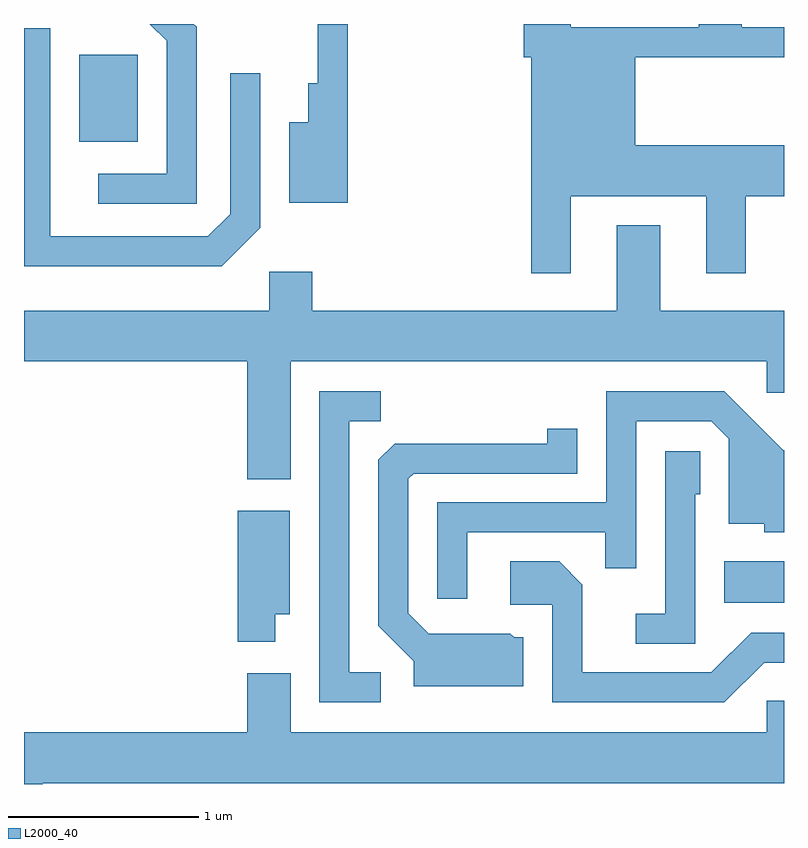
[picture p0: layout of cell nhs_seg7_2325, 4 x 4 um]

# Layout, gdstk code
import gdstk
lib = gdstk.Library(unit=1e-6, precision=1e-09)
def R(c, l, rs):  # rectangles x0, y0, x1, y1
    for r in rs: c.add(gdstk.rectangle(r[:2], r[2:], *l))
def P(c, l, *ps):  # polygons
    for p in ps: c.add(gdstk.Polygon(p, *l))
L2000_40 = (2000, 40)

nhs_seg7_2325 = lib.new_cell('nhs_seg7_2325')
R(nhs_seg7_2325, L2000_40, [(259.296,1775.206,259.611,1775.424), (255.901,1777.631,256.209,1778.089)])
P(nhs_seg7_2325, L2000_40, [(256.519,1778.237),(256.504,1778.252),(256.273,1778.252),(256.361,1778.164),(256.361,1777.464),(256.003,1777.464),(256.003,1777.306),(256.519,1777.306)],
  [(258.489,1777.346),(259.201,1777.346),(259.201,1776.941),(259.409,1776.941),(259.409,1777.346),(259.611,1777.346),(259.611,1777.614),(258.829,1777.614),(258.829,1778.076),(259.611,1778.076),(259.611,1778.234),(259.389,1778.234),(259.389,1778.252),(259.161,1778.252),(259.161,1778.234),(258.489,1778.234),(258.489,1778.252),(258.241,1778.252),(258.241,1778.076),(258.281,1778.076),(258.281,1776.941),(258.489,1776.941)],
  [(257.314,1778.252),(257.156,1778.252),(257.156,1777.939),(257.106,1777.939),(257.106,1777.734),(257.006,1777.734),(257.006,1777.311),(257.314,1777.311)],
  [(256.854,1777.179),(256.854,1777.993),(256.696,1777.993),(256.696,1777.252),(256.579,1777.134),(255.749,1777.134),(255.749,1778.229),(255.611,1778.229),(255.611,1776.976),(256.652,1776.976)],
  [(257.014,1776.476),(259.521,1776.476),(259.521,1776.311),(259.611,1776.311),(259.611,1776.744),(258.959,1776.744),(258.959,1777.194),(258.731,1777.194),(258.731,1776.744),(257.129,1776.744),(257.129,1776.949),(256.901,1776.949),(256.901,1776.744),(255.611,1776.744),(255.611,1776.476),(256.786,1776.476),(256.786,1775.856),(257.014,1775.856)],
  [(257.944,1775.576),(258.671,1775.576),(258.671,1775.388),(258.834,1775.388),(258.834,1776.161),(259.229,1776.161),(259.321,1776.069),(259.321,1775.621),(259.506,1775.621),(259.506,1775.576),(259.611,1775.576),(259.611,1776.009),(259.606,1776.009),(259.296,1776.319),(258.676,1776.319),(258.676,1775.734),(257.786,1775.734),(257.786,1775.228),(257.944,1775.228)],
  [(257.488,1774.839),(257.324,1774.839),(257.324,1776.161),(257.488,1776.161),(257.488,1776.319),(257.166,1776.319),(257.166,1774.681),(257.488,1774.681)],
  [(258.239,1775.024),(258.192,1775.024),(258.171,1775.044),(257.742,1775.044),(257.634,1775.152),(257.634,1775.859),(257.662,1775.886),(258.524,1775.886),(258.524,1776.123),(258.366,1776.123),(258.366,1776.044),(257.562,1776.044),(257.476,1775.959),(257.476,1775.084),(257.661,1774.899),(257.661,1774.766),(258.239,1774.766)],
  [(259.144,1775.776),(259.169,1775.776),(259.169,1776.004),(258.986,1776.004),(258.986,1775.149),(258.832,1775.149),(258.832,1774.991),(259.144,1774.991)],
  [(256.934,1775.146),(257.009,1775.146),(257.009,1775.689),(256.736,1775.689),(256.736,1775.001),(256.934,1775.001)],
  [(259.507,1774.891),(259.611,1774.891),(259.611,1775.049),(259.439,1775.049),(259.229,1774.839),(258.549,1774.839),(258.549,1775.302),(258.427,1775.424),(258.171,1775.424),(258.171,1775.196),(258.391,1775.196),(258.391,1774.681),(259.296,1774.681)],
  [(255.709,1774.256),(259.611,1774.256),(259.611,1774.689),(259.521,1774.689),(259.521,1774.524),(257.014,1774.524),(257.014,1774.834),(256.786,1774.834),(256.786,1774.524),(255.611,1774.524),(255.611,1774.252),(255.709,1774.252)])

lib.write_gds('nhs_seg7_2325.gds')
